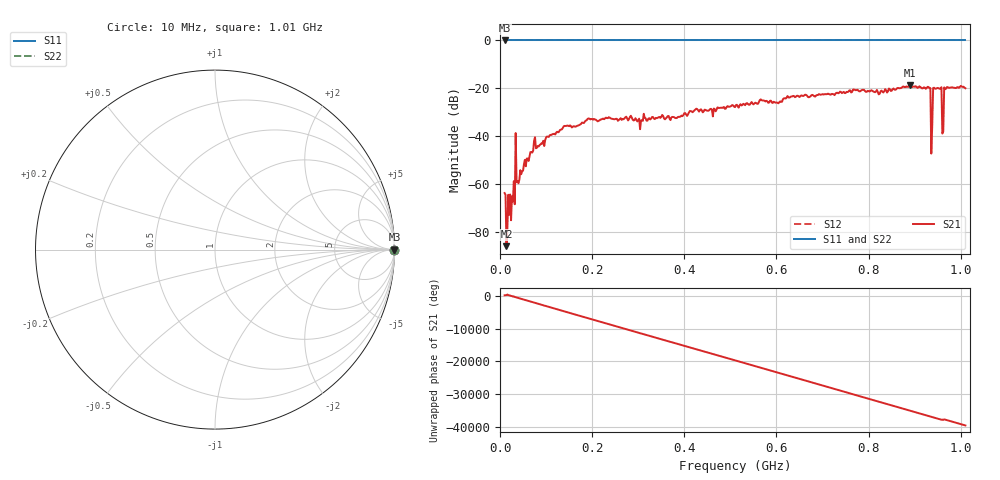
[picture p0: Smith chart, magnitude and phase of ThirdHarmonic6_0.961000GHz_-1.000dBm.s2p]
! 8/16/2025 7:07:56 AM
! C:\ANRITSUVNA\TEMP\TEMP.S2P
! CHANNEL.1
! TR.MEASUREMENT
! RAW.DATA
! RF.CORRECTION.OFF
! AVERAGING.OFF
! IF.BANDWIDTH: 5KHZ
! SWEEPTYPE:  FREQ.SWEEP(Linear)
! Reference Plane Port Info
! PORT:  PORT1  PORT2
! DISTANCE:  0  m  0  m
! TIME:  0  s  0  s
! PHASE.OFFSET:  0  deg.  0  deg.
! LOSS:  0  dB  0  dB
! REF.LOSS:  0  dB  0  dB
! REF.FREQ:  0  Hz  0  Hz
! Power Info
! POWER:  -20  dBm  -20  dBm
! EFF.POWER:  -20  dBm  -20  dBm
! SOURCE.ATTEN:  0  dB  0  dB
! TEST.ATTEN:  0  dB  0  dB
# GHZ S RI R 50.0
! FREQ.GHZ  S11RE  S11IM  S21RE  S21IM  S12RE  S12IM  S22RE  S22IM
!; PortSelection: Port_12
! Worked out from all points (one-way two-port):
!   501 points, 10 MHz to 1.01 GHz, reference 50 ohm
!   highest |S21| = -18.67 dB at 890 MHz (marker M1); lowest = -86.1 dB at 14 MHz (marker M2)
!   lowest |S11| = 0.0 dB at 10 MHz (marker M3)
!   |S11| at or under -10 dB: nowhere
!   |S22| runs from 0.0 to 0.0 dB; largest |S21 - S12| = 1.1
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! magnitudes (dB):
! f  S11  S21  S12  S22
! 10 MHz  0.0  -63.9  0.0  0.0
! 14 MHz  0.0  -86.1  0.0  0.0
! 28 MHz  0.0  -67.4  0.0  0.0
! 30 MHz  0.0  -58.9  0.0  0.0
! 38 MHz  0.0  -58.8  0.0  0.0
! 40 MHz  0.0  -59.8  0.0  0.0
! 72 MHz  0.0  -46.1  0.0  0.0
! 178 MHz  0.0  -34.4  0.0  0.0
! 344 MHz  0.0  -32.1  0.0  0.0
! 510 MHz  0.0  -27.9  0.0  0.0
! 678 MHz  0.0  -22.8  0.0  0.0
! 844 MHz  0.0  -20.1  0.0  0.0
! 890 MHz  0.0  -18.7  0.0  0.0
! 930 MHz  0.0  -19.5  0.0  0.0
! 936 MHz  0.0  -47.3  0.0  0.0
! 940 MHz  0.0  -19.9  0.0  0.0
! 944 MHz  0.0  -20.2  0.0  0.0
! 954 MHz  0.0  -20.2  0.0  0.0
! 958 MHz  0.0  -19.6  0.0  0.0
! 964 MHz  0.0  -19.6  0.0  0.0
! 968 MHz  0.0  -20.2  0.0  0.0
! 1.01 GHz  0.0  -20.0  0.0  0.0
